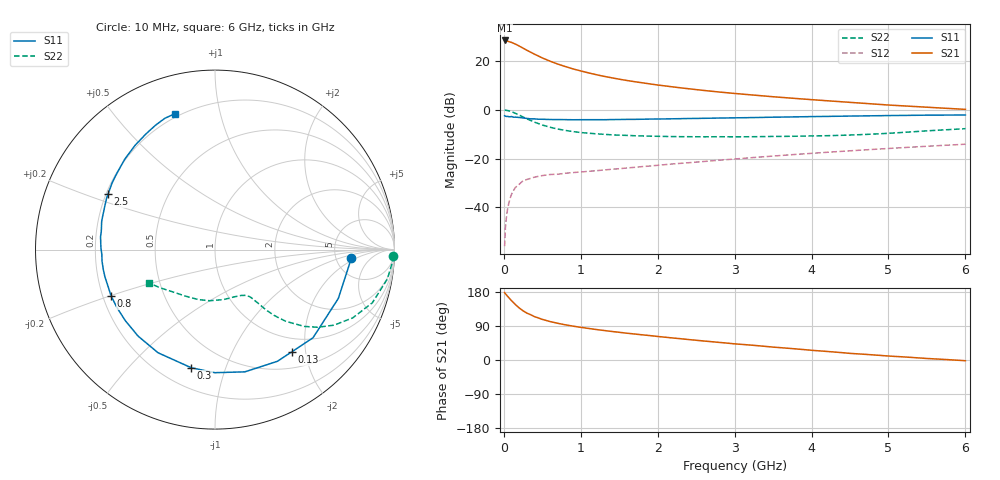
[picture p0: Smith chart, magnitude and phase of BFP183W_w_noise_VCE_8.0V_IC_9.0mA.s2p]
! Infineon Technologies  Discrete & RF Semiconductors
! BFP183W
! VCE =  8.0 V,  IC =  9.0 mA
! Common Emitter S-Parameters:  Jan 2017
# GHz  S  MA  R  50
!  f  S11  S21  S12  S22
! GHz  MAG  ANG  MAG  ANG  MAG  ANG  MAG  ANG
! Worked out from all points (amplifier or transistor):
!   77 points, 10 MHz to 6 GHz, reference 50 ohm
!   highest |S21| = 28.5 dB at 10 MHz (marker M1)
!   |S21| within 3 dB of that: start of sweep to 240.7 MHz
!   unconditionally stable (mu >= 1): 1.743 GHz to 3.934 GHz
!   at 130 MHz: K = 0.13, MSG = 30.1 dB, |S12| = -32.8 dB
!   at 2.2 GHz: K = 1.05, MAG = 14.4 dB, |S12| = -22.1 dB
!   at 6 GHz: K = 0.84, MSG = 7.2 dB, |S12| = -14.1 dB
!   lowest NFmin = 0.90 dB at 450 MHz
!   S11 on the Smith chart (normalised r, x): 10 MHz: 7.03, -1.56; 130 MHz: 0.75, -1.74; 300 MHz: 0.32, -0.77; 800 MHz: 0.23, -0.20; 2.5 GHz: 0.21, +0.23; 6 GHz: 0.18, +0.73
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0.01  0.7614 -3.5  26.75 178.1  0.0016 82.4  0.9939 -2.0
0.02  0.7448 -10.0  26.42 174.9  0.0037 90.6  0.9911 -4.0
0.05  0.739 -21.6  25.87 167.8  0.0095 78.5  0.9741 -9.7
0.1  0.7346 -42.0  24.45 156.4  0.0186 71.7  0.9253 -18.7
0.13  0.7122 -53.2  23.23 150.5  0.0228 65.2  0.8818 -23.2
0.15  0.7129 -60.8  22.58 146.2  0.0257 62.1  0.856 -26.4
0.2  0.7011 -76.3  20.52 137.3  0.0299 57.1  0.7857 -32.4
0.25  0.6858 -90.1  18.59 129.8  0.0353 51.2  0.7172 -37.1
0.3  0.6713 -101.4  16.8 123.7  0.0374 46.5  0.6563 -40.7
0.4  0.6565 -118.9  13.94 114.2  0.0419 42.2  0.5603 -45.4
0.5  0.6449 -131.7  11.71 107.2  0.045 39.3  0.4917 -48.1
0.6  0.6375 -141.6  10.07 101.5  0.0473 37.0  0.4424 -49.7
0.7  0.6345 -149.4  8.773 96.9  0.048 37.7  0.4062 -50.6
0.8  0.6339 -155.9  7.791 92.8  0.0502 38.0  0.3807 -51.3
1.1  0.6323 -170.1  5.78 83.3  0.055 39.1  0.3339 -53.1
1.5  0.6379 176.4  4.289 73.1  0.0623 42.2  0.3041 -56.9
2.1  0.6557 161.0  3.113 60.1  0.0756 46.3  0.2862 -66.0
2.5  0.6712 152.6  2.622 52.1  0.0851 48.2  0.282 -74.0
3.1  0.6932 141.6  2.118 41.1  0.1014 49.2  0.2817 -87.2
4.1  0.7348 126.2  1.588 24.1  0.1321 48.1  0.2947 -111.3
5.1  0.7707 114.6  1.238 9.3  0.1656 44.7  0.3393 -137.0
6  0.7898 106.3  1.029 -1.9  0.1982 39.9  0.4136 -153.4
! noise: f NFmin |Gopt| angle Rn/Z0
0.45  0.9  0.11  89  0.11
0.9  0.95  0.18  132  0.1
1.9  1.46  0.37  179  0.07
2.4  1.71  0.44  -170  0.09
